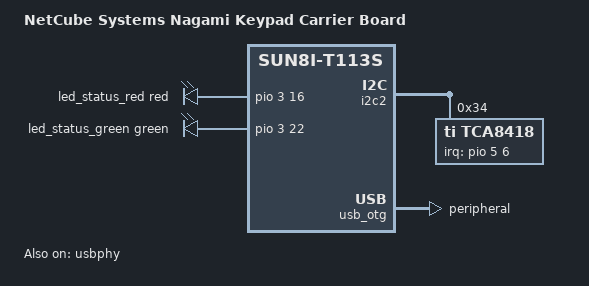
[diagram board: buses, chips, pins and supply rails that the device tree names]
// SPDX-License-Identifier: (GPL-2.0+ OR MIT)
/*
 * Copyright (C) 2025 Lukas Schmid <lukas.schmid@netcube.li>
 */

/dts-v1/;
#include "sun8i-t113s-netcube-nagami.dtsi"

#include <dt-bindings/input/input.h>
#include <dt-bindings/leds/common.h>

/ {
	model = "NetCube Systems Nagami Keypad Carrier Board";
	compatible = "netcube,nagami-keypad-carrier", "netcube,nagami",
		     "allwinner,sun8i-t113s";

	leds {
		compatible = "gpio-leds";

		led_status_red: led-status-red {
			gpios = <&pio 3 16 GPIO_ACTIVE_HIGH>;  /* PD16 */
			color = <LED_COLOR_ID_RED>;
			function = LED_FUNCTION_STATUS;
		};

		led_status_green: led-status-green {
			gpios = <&pio 3 22 GPIO_ACTIVE_HIGH>;  /* PD22 */
			color = <LED_COLOR_ID_GREEN>;
			function = LED_FUNCTION_STATUS;
		};
	};
};

&i2c2 {
	status = "okay";

	tca8418: keypad@34 {
		compatible = "ti,tca8418";
		reg = <0x34>;
		interrupts-extended = <&pio 5 6 IRQ_TYPE_EDGE_FALLING>;  /* PF6 */
		linux,keymap = <MATRIX_KEY(0x03, 0x00, KEY_NUMERIC_A)
				MATRIX_KEY(0x03, 0x01, KEY_NUMERIC_1)
				MATRIX_KEY(0x03, 0x02, KEY_NUMERIC_2)
				MATRIX_KEY(0x03, 0x03, KEY_NUMERIC_3)
				MATRIX_KEY(0x02, 0x00, KEY_NUMERIC_B)
				MATRIX_KEY(0x02, 0x01, KEY_NUMERIC_4)
				MATRIX_KEY(0x02, 0x02, KEY_NUMERIC_5)
				MATRIX_KEY(0x02, 0x03, KEY_NUMERIC_6)
				MATRIX_KEY(0x01, 0x00, KEY_NUMERIC_C)
				MATRIX_KEY(0x01, 0x01, KEY_NUMERIC_7)
				MATRIX_KEY(0x01, 0x02, KEY_NUMERIC_8)
				MATRIX_KEY(0x01, 0x03, KEY_NUMERIC_9)
				MATRIX_KEY(0x00, 0x00, KEY_NUMERIC_D)
				MATRIX_KEY(0x00, 0x01, KEY_CLEAR)
				MATRIX_KEY(0x00, 0x02, KEY_NUMERIC_0)
				MATRIX_KEY(0x00, 0x03, KEY_OK)
		>;
		keypad,num-rows = <4>;
		keypad,num-columns = <4>;
	};
};

&pio {
	gpio-line-names = "", "", "", "", // PA
			  "", "", "", "",
			  "", "", "", "",
			  "", "", "", "",
			  "", "", "", "",
			  "", "", "", "",
			  "", "", "", "",
			  "", "", "", "",
			  "", "", "", "", // PB
			  "", "", "UART3_TX", "UART3_RX",
			  "", "", "", "",
			  "", "", "", "",
			  "", "", "", "",
			  "", "", "", "",
			  "", "", "", "",
			  "", "", "", "",
			  "", "", "eMMC_CLK", "eMMC_CMD", // PC
			  "eMMC_D2", "eMMC_D1", "eMMC_D0", "eMMC_D3",
			  "", "", "", "",
			  "", "", "", "",
			  "", "", "", "",
			  "", "", "", "",
			  "", "", "", "",
			  "", "", "", "",
			  "", "", "", "", // PD
			  "", "", "", "",
			  "", "USB_SEC_EN", "", "",
			  "", "", "", "",
			  "LED_STATUS_RED", "", "", "",
			  "I2C2_SCL", "I2C2_SDA", "LED_STATUS_GREEN", "",
			  "", "", "", "",
			  "", "", "", "",
			  "ETH_CRSDV", "ETH_RXD0", "ETH_RXD1", "ETH_TXCK", // PE
			  "ETH_TXD0", "ETH_TXD1", "ETH_TXEN", "",
			  "ETH_MDC", "ETH_MDIO", "QWIIC_nINT", "",
			  "", "", "", "",
			  "", "", "", "",
			  "", "", "", "",
			  "", "", "", "",
			  "", "", "", "",
			  "", "", "", "", // PF
			  "", "", "KEY_nINT", "",
			  "", "", "", "",
			  "", "", "", "",
			  "", "", "", "",
			  "", "", "", "",
			  "", "", "", "",
			  "", "", "", "",
			  "ESP_CLK", "ESP_CMD", "ESP_D0", "ESP_D1", // PG
			  "ESP_D2", "ESP_D3", "UART1_TXD", "UART1_RXD",
			  "ESP_nBOOT", "ESP_nRST", "I2C3_SCL", "I2C3_SDA",
			  "", "", "", "",
			  "", "", "", "",
			  "", "", "", "",
			  "", "", "", "",
			  "", "", "", "";
};

&usb_otg {
	dr_mode = "peripheral";
	status = "okay";
};

&usbphy {
	status = "okay";
};
